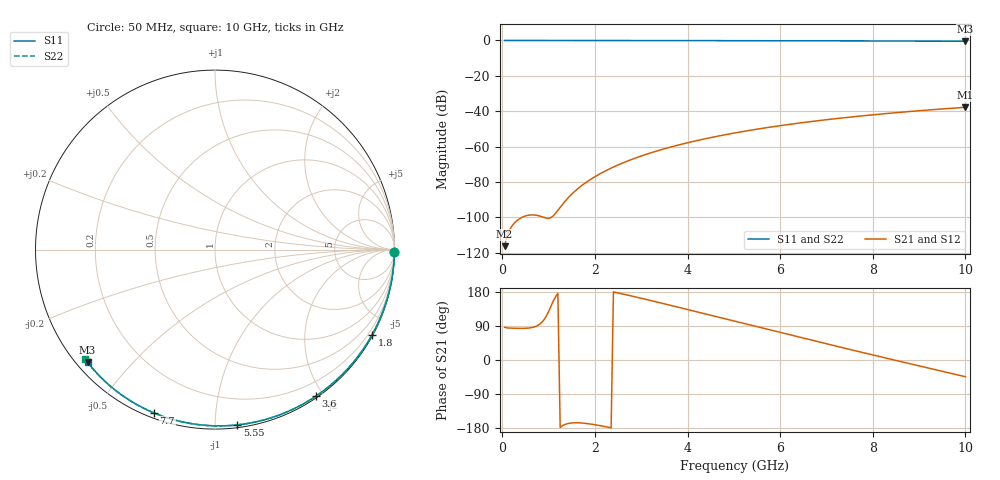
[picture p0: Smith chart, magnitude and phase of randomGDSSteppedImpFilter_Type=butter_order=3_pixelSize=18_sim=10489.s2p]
! freq	dB(S11)	phase(S11)	dB(S12)	phase(S12)
!  dB(S21)	phase(S21)	dB(S22)	phase(S22)
!S-par simulation data
#  GHz  S  DB  R 50
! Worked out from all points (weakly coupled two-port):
!   200 points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, 50 MHz to 10 GHz, reference 50 ohm
!   highest |S21| = -37.79 dB at 10 GHz (marker M1); lowest = -116.3 dB at 50 MHz (marker M2)
!   lowest |S11| = -0.5 dB at 10 GHz (marker M3), VSWR 37.08, Z = 1.54 - j18.9 ohm
!   |S11| at or under -10 dB: nowhere
!   |S22| runs from -0.5 to 0.0 dB; largest |S21 - S12| = 0
!   S11 on the Smith chart (normalised r, x): 50 MHz: open; 1.8 GHz: 0.03, -3.95; 3.6 GHz: 0.02, -1.90; 5.55 GHz: 0.02, -1.13; 7.7 GHz: 0.02, -0.69; 10 GHz: 0.03, -0.38
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0.05  -0.00 -0.8  -116.32 86.5  -116.32 86.5  -0.00 -0.8
0.45  -0.01 -7.2  -99.73 83.4  -99.73 83.4  -0.01 -7.3
0.9  -0.02 -14.3  -100.09 106.0  -100.09 106.0  -0.02 -14.5
1.75  -0.04 -27.6  -81.36 -166.7  -81.36 -166.7  -0.04 -27.9
1.8  -0.04 -28.4  -80.41 -167.3  -80.41 -167.3  -0.04 -28.7
1.85  -0.04 -29.2  -79.51 -168.1  -79.51 -168.1  -0.04 -29.5
2.05  -0.04 -32.3  -76.26 -171.9  -76.26 -171.9  -0.04 -32.6
2.2  -0.04 -34.6  -74.12 -175.3  -74.12 -175.3  -0.04 -34.9
2.55  -0.05 -39.9  -69.82 175.7  -69.82 175.7  -0.05 -40.3
2.95  -0.06 -45.9  -65.79 164.4  -65.79 164.4  -0.06 -46.4
3.4  -0.07 -52.6  -62.01 151.2  -62.01 151.2  -0.07 -53.1
3.6  -0.07 -55.5  -60.52 145.2  -60.52 145.2  -0.08 -56.0
3.9  -0.08 -59.8  -58.48 136.2  -58.48 136.2  -0.08 -60.4
4.3  -0.09 -65.5  -56.04 124.0  -56.04 124.0  -0.09 -66.2
5.05  -0.12 -76.0  -52.16 101.3  -52.16 101.3  -0.12 -76.7
5.55  -0.14 -82.8  -49.95 86.1  -49.95 86.1  -0.14 -83.6
6.1  -0.16 -90.1  -47.81 69.6  -47.81 69.6  -0.16 -90.9
6.7  -0.19 -97.9  -45.75 51.6  -45.75 51.6  -0.19 -98.8
7.7  -0.25 -110.5  -42.82 22.1  -42.82 22.1  -0.26 -111.5
8.35  -0.30 -118.5  -41.19 3.2  -41.19 3.2  -0.31 -119.6
9.2  -0.38 -128.9  -39.32 -21.3  -39.32 -21.3  -0.38 -130.0
10  -0.47 -138.5  -37.79 -44.1  -37.79 -44.1  -0.47 -139.8
